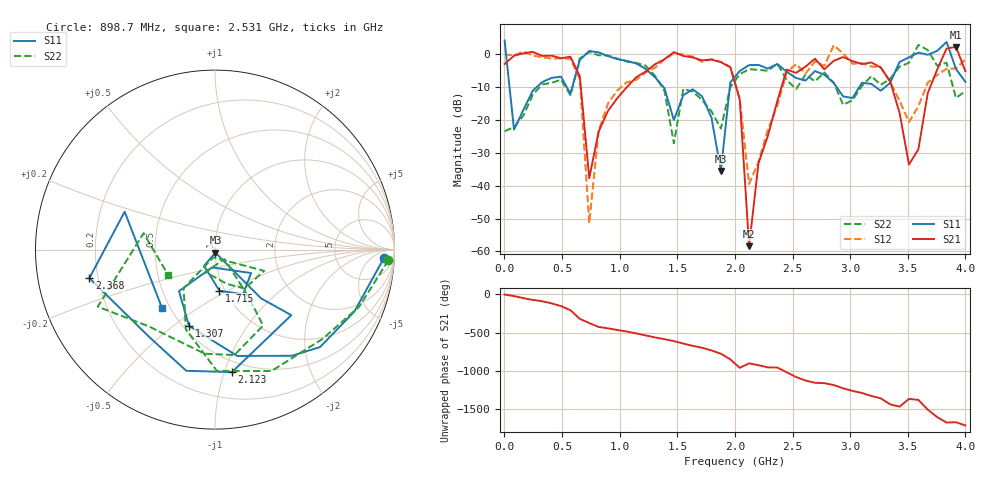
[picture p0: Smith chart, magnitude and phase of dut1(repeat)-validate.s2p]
!Created with skrf (http://scikit-rf.org).
# GHz S DB R 50.0
!freq dBS11 angS11 dBS21 angS21 dBS12 angS12 dBS22 angS22
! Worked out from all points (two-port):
!   50 points, 1 MHz to 4 GHz, reference 50 ohm
!   highest |S21| = 2.31 dB at 3.918 GHz (marker M1); lowest = -58.4 dB at 2.123 GHz (marker M2)
!   |S21| within 3 dB of the highest: 72.65 MHz to 443.2 MHz (370.6 MHz wide, 144 % of centre); 1.416 GHz to 1.595 GHz (178.5 MHz wide, 11.9 % of centre) (the widest 2 of 4)
!   lowest |S11| = -35.5 dB at 1.878 GHz (marker M3), VSWR 1.03, Z = 50.2 - j1.68 ohm
!   |S11| at or under -10 dB: 43.93 MHz to 277.4 MHz (233.5 MHz wide, 145 % of centre); 1.382 GHz to 1.955 GHz (573.7 MHz wide, 34.4 % of centre); 2.884 GHz to 3.078 GHz (194.1 MHz wide, 6.51 % of centre) (the widest 3 of 5)
!   |S22| runs from -27.0 to 2.9 dB; largest |S21 - S12| = 0.97
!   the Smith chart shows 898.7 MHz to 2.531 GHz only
!   S11 on the Smith chart (normalised r, x): 898.7 MHz: 19, -16; 1.307 GHz: 0.54, -0.57; 1.715 GHz: 0.94, -0.46; 2.123 GHz: 0.41, -1.06; 2.368 GHz: 0.17, -0.11; 2.531 GHz: 0.45, -0.36
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0.001  4.27 165.5  -2.90 -3.6  -0.01 -4.3  -23.34 -153.0
0.08261224  -22.86 -119.1  -0.39 -23.6  -0.23 -24.8  -22.17 -115.0
0.4090612  -7.13 146.6  -0.37 -119.1  -1.27 -117.9  -8.65 145.4
0.5722857  -12.00 70.0  -0.68 152.3  -1.33 154.5  -12.41 66.3
0.653898  -1.64 119.8  -6.63 38.7  -7.60 26.0  -1.15 110.3
0.7355102  1.08 52.7  -37.69 -16.0  -51.33 93.9  0.75 64.4
0.8987347  -0.52 -2.9  -17.14 -84.8  -14.88 -89.0  -0.28 -3.5
1.306796  -6.95 -108.8  -2.98 156.4  -4.02 158.2  -6.50 -110.1
1.388408  -10.28 -130.9  -1.43 133.4  -1.48 133.6  -11.15 -129.1
1.714857  -12.74 -83.8  -1.77 22.3  -2.22 19.0  -13.86 -70.7
1.878082  -35.46 -82.0  -2.34 -56.3  -2.27 -60.3  -22.55 -45.2
2.041306  -5.02 -40.7  -13.61 119.5  -13.59 113.5  -6.00 -57.6
2.122918  -3.24 -82.1  -58.39 177.7  -39.42 179.1  -4.47 -79.6
2.367755  -2.88 -167.2  -14.18 123.5  -15.67 145.7  -2.78 -154.0
2.53098  -7.15 -132.3  -5.61 -0.9  -2.93 -1.6  -10.55 -151.3
2.694204  -5.06 -155.1  -1.28 -75.9  -2.13 -63.5  -8.20 -159.7
2.939041  -12.77 140.3  -0.78 -148.4  0.32 -151.7  -15.33 115.1
3.347102  -8.65 -160.1  -8.17 2.5  -8.33 4.0  -7.43 -172.8
3.510327  -0.87 170.6  -33.52 74.1  -20.59 90.7  -2.53 -178.1
3.836776  3.83 40.1  1.83 124.7  -4.33 175.2  -2.51 67.6
3.918388  -4.44 122.4  2.31 128.8  -4.27 108.3  -13.25 55.6
4  -8.32 101.8  -5.10 87.2  -1.50 64.9  -11.14 48.9
